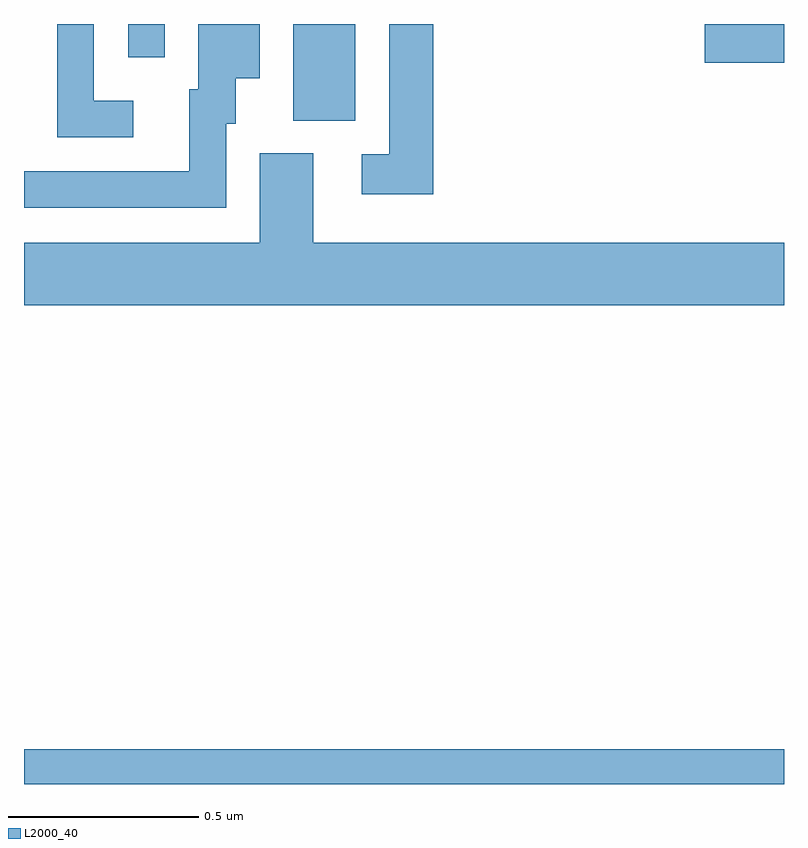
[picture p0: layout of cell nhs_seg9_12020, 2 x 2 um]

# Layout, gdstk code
import gdstk
lib = gdstk.Library(unit=1e-6, precision=1e-09)
def R(c, l, rs):  # rectangles x0, y0, x1, y1
    for r in rs: c.add(gdstk.rectangle(r[:2], r[2:], *l))
def P(c, l, *ps):  # polygons
    for p in ps: c.add(gdstk.Polygon(p, *l))
L2000_40 = (2000, 40)

nhs_seg9_12020 = lib.new_cell('nhs_seg9_12020')
R(nhs_seg9_12020, L2000_40, [(263,1188.5,265,1188.592), (263.708,1190.245,263.872,1190.5), (264.792,1190.398,265,1190.5), (263.274,1190.412,263.37,1190.5)])
P(nhs_seg9_12020, L2000_40, [(263.532,1190.238),(263.557,1190.238),(263.557,1190.357),(263.62,1190.357),(263.62,1190.5),(263.459,1190.5),(263.459,1190.328),(263.435,1190.328),(263.435,1190.112),(263,1190.112),(263,1190.016),(263.532,1190.016)],
  [(263.287,1190.298),(263.184,1190.298),(263.184,1190.5),(263.088,1190.5),(263.088,1190.202),(263.287,1190.202)],
  [(264.077,1190.5),(263.961,1190.5),(263.961,1190.157),(263.889,1190.157),(263.889,1190.052),(264.077,1190.052)],
  [(265,1189.924),(263.761,1189.924),(263.761,1190.16),(263.621,1190.16),(263.621,1189.924),(263,1189.924),(263,1189.76),(265,1189.76)])

lib.write_gds('nhs_seg9_12020.gds')
